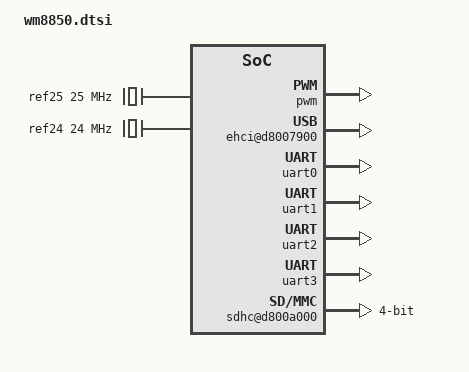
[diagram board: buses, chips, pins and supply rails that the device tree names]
/*
 * wm8850.dtsi - Device tree file for Wondermedia WM8850 SoC
 *
 * Copyright (C) 2012 Tony Prisk <linux@prisktech.co.nz>
 *
 * Licensed under GPLv2 or later
 */

/include/ "skeleton.dtsi"

/ {
	compatible = "wm,wm8850";

	aliases {
		serial0 = &uart0;
		serial1 = &uart1;
		serial2 = &uart2;
		serial3 = &uart3;
	};

	soc {
		#address-cells = <1>;
		#size-cells = <1>;
		compatible = "simple-bus";
		ranges;
		interrupt-parent = <&intc0>;

		intc0: interrupt-controller@d8140000 {
			compatible = "via,vt8500-intc";
			interrupt-controller;
			reg = <0xd8140000 0x10000>;
			#interrupt-cells = <1>;
		};

		/* Secondary IC cascaded to intc0 */
		intc1: interrupt-controller@d8150000 {
			compatible = "via,vt8500-intc";
			interrupt-controller;
			#interrupt-cells = <1>;
			reg = <0xD8150000 0x10000>;
			interrupts = <56 57 58 59 60 61 62 63>;
		};

		pinctrl: pinctrl@d8110000 {
			compatible = "wm,wm8850-pinctrl";
			reg = <0xd8110000 0x10000>;
			interrupt-controller;
			#interrupt-cells = <2>;
			gpio-controller;
			#gpio-cells = <2>;
		};

		pmc@d8130000 {
			compatible = "via,vt8500-pmc";
			reg = <0xd8130000 0x1000>;

			clocks {
				#address-cells = <1>;
				#size-cells = <0>;

				ref25: ref25M {
					#clock-cells = <0>;
					compatible = "fixed-clock";
					clock-frequency = <25000000>;
				};

				ref24: ref24M {
					#clock-cells = <0>;
					compatible = "fixed-clock";
					clock-frequency = <24000000>;
				};

				plla: plla {
					#clock-cells = <0>;
					compatible = "wm,wm8750-pll-clock";
					clocks = <&ref25>;
					reg = <0x200>;
				};

				pllb: pllb {
					#clock-cells = <0>;
					compatible = "wm,wm8750-pll-clock";
					clocks = <&ref25>;
					reg = <0x204>;
				};

				clkuart0: uart0 {
					#clock-cells = <0>;
					compatible = "via,vt8500-device-clock";
					clocks = <&ref24>;
					enable-reg = <0x254>;
					enable-bit = <24>;
				};

				clkuart1: uart1 {
					#clock-cells = <0>;
					compatible = "via,vt8500-device-clock";
					clocks = <&ref24>;
					enable-reg = <0x254>;
					enable-bit = <25>;
				};

                                clkuart2: uart2 {
                                        #clock-cells = <0>;
                                        compatible = "via,vt8500-device-clock";
                                        clocks = <&ref24>;
                                        enable-reg = <0x254>;
                                        enable-bit = <26>;
                                };

                                clkuart3: uart3 {
                                        #clock-cells = <0>;
                                        compatible = "via,vt8500-device-clock";
                                        clocks = <&ref24>;
                                        enable-reg = <0x254>;
                                        enable-bit = <27>;
                                };

				clkpwm: pwm {
					#clock-cells = <0>;
					compatible = "via,vt8500-device-clock";
					clocks = <&pllb>;
					divisor-reg = <0x350>;
					enable-reg = <0x250>;
					enable-bit = <17>;
				};

				clksdhc: sdhc {
					#clock-cells = <0>;
					compatible = "via,vt8500-device-clock";
					clocks = <&pllb>;
					divisor-reg = <0x330>;
					divisor-mask = <0x3f>;
					enable-reg = <0x250>;
					enable-bit = <0>;
				};
			};
		};

		fb@d8051700 {
			compatible = "wm,wm8505-fb";
			reg = <0xd8051700 0x200>;
			display = <&display>;
			default-mode = <&mode0>;
		};

		ge_rops@d8050400 {
			compatible = "wm,prizm-ge-rops";
			reg = <0xd8050400 0x100>;
		};

		pwm: pwm@d8220000 {
			#pwm-cells = <3>;
			compatible = "via,vt8500-pwm";
			reg = <0xd8220000 0x100>;
			clocks = <&clkpwm>;
		};

		timer@d8130100 {
			compatible = "via,vt8500-timer";
			reg = <0xd8130100 0x28>;
			interrupts = <36>;
		};

		ehci@d8007900 {
			compatible = "via,vt8500-ehci";
			reg = <0xd8007900 0x200>;
			interrupts = <26>;
		};

		uhci@d8007b00 {
			compatible = "platform-uhci";
			reg = <0xd8007b00 0x200>;
			interrupts = <26>;
		};

		uhci@d8008d00 {
			compatible = "platform-uhci";
			reg = <0xd8008d00 0x200>;
			interrupts = <26>;
		};

		uart0: uart@d8200000 {
			compatible = "via,vt8500-uart";
			reg = <0xd8200000 0x1040>;
			interrupts = <32>;
			clocks = <&clkuart0>;
		};

		uart1: uart@d82b0000 {
			compatible = "via,vt8500-uart";
			reg = <0xd82b0000 0x1040>;
			interrupts = <33>;
			clocks = <&clkuart1>;
		};

                uart2: uart@d8210000 {
                        compatible = "via,vt8500-uart";
                        reg = <0xd8210000 0x1040>;
                        interrupts = <47>;
                        clocks = <&clkuart2>;
                };

                uart3: uart@d82c0000 {
                        compatible = "via,vt8500-uart";
                        reg = <0xd82c0000 0x1040>;
                        interrupts = <50>;
                        clocks = <&clkuart3>;
                };

		rtc@d8100000 {
			compatible = "via,vt8500-rtc";
			reg = <0xd8100000 0x10000>;
			interrupts = <48>;
		};

		sdhc@d800a000 {
			compatible = "wm,wm8505-sdhc";
			reg = <0xd800a000 0x1000>;
			interrupts = <20 21>;
			clocks = <&clksdhc>;
			bus-width = <4>;
			sdon-inverted;
		};
	};
};
